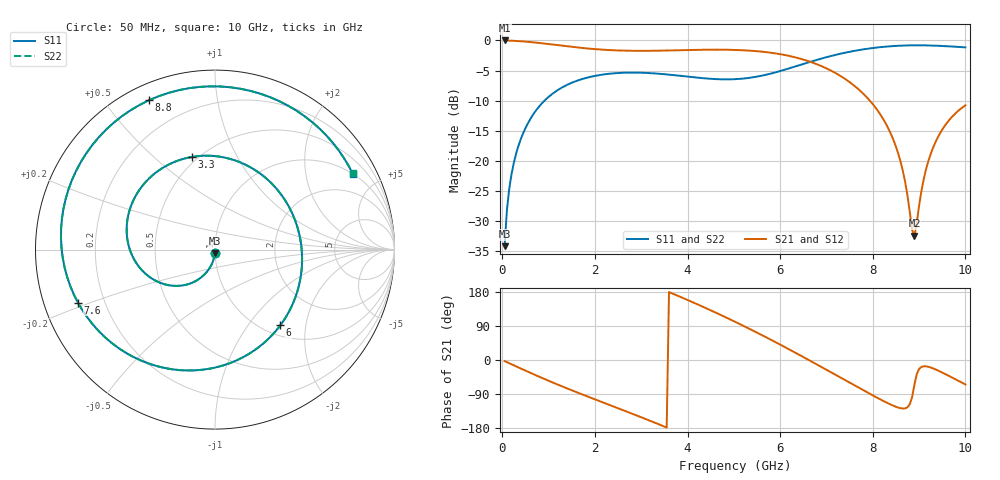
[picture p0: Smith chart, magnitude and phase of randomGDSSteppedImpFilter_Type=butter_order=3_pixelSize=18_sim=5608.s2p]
! freq	dB(S11)	phase(S11)	dB(S12)	phase(S12)
!  dB(S21)	phase(S21)	dB(S22)	phase(S22)
!S-par simulation data
#  GHz  S  DB  R 50
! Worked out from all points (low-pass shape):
!   200 points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, 50 MHz to 10 GHz, reference 50 ohm
!   highest |S21| = -0.01 dB at 50 MHz (marker M1); lowest = -32.4 dB at 8.9 GHz (marker M2)
!   |S21| within 3 dB of the highest: start of sweep to 6.424 GHz
!   lowest |S11| = -34.1 dB at 50 MHz (marker M3), VSWR 1.04, Z = 49.9 - j1.96 ohm
!   |S11| at or under -10 dB: start of sweep to 911.6 MHz
!   |S22| runs from -34.1 to -0.8 dB; largest |S21 - S12| = 0
!   S11 on the Smith chart (normalised r, x): 50 MHz: 1.00, -0.04; 3.3 GHz: 0.47, +0.67; 6 GHz: 1.18, -1.45; 7.6 GHz: 0.10, -0.18; 8.8 GHz: 0.07, +0.65; 10 GHz: 1.00, +3.63
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0.05  -34.14 -92.8  -0.01 -2.9  -0.01 -2.9  -34.14 -92.8
0.2  -22.16 -101.7  -0.05 -11.4  -0.05 -11.4  -22.16 -101.7
0.5  -14.56 -118.6  -0.19 -28.1  -0.19 -28.1  -14.56 -118.6
1.1  -8.76 -150.5  -0.70 -60.0  -0.70 -60.0  -8.76 -150.5
1.75  -6.35 177.4  -1.27 -92.0  -1.27 -92.0  -6.35 177.4
2.45  -5.43 144.5  -1.65 -125.0  -1.65 -125.0  -5.43 144.5
3.3  -5.48 103.9  -1.71 -165.7  -1.71 -165.7  -5.48 103.9
3.4  -5.54 99.0  -1.70 -170.7  -1.70 -170.7  -5.54 99.0
4.2  -6.17 57.7  -1.56 147.7  -1.56 147.7  -6.17 57.7
5.05  -6.42 9.7  -1.59 99.5  -1.59 99.5  -6.42 9.8
5.5  -6.01 -17.5  -1.79 72.3  -1.79 72.3  -6.01 -17.4
6  -5.08 -49.2  -2.28 40.7  -2.28 40.7  -5.08 -49.1
6.7  -3.44 -96.0  -3.68 -5.5  -3.68 -5.5  -3.44 -96.0
7.15  -2.49 -127.2  -5.22 -36.0  -5.22 -36.0  -2.49 -127.1
7.6  -1.74 -158.9  -7.51 -66.6  -7.51 -66.6  -1.74 -158.8
8.35  -0.99 147.0  -14.84 -115.5  -14.84 -115.5  -0.99 147.1
8.6  -0.87 128.6  -20.12 -127.2  -20.12 -127.2  -0.87 128.7
8.8  -0.82 113.9  -28.51 -116.7  -28.51 -116.7  -0.82 114.0
8.9  -0.81 106.5  -32.43 -64.7  -32.43 -64.7  -0.81 106.6
9.1  -0.82 91.8  -23.02 -16.6  -23.02 -16.6  -0.82 91.9
9.3  -0.86 77.3  -17.84 -22.0  -17.84 -22.0  -0.86 77.4
10  -1.15 28.9  -10.77 -64.4  -10.77 -64.4  -1.15 29.0
